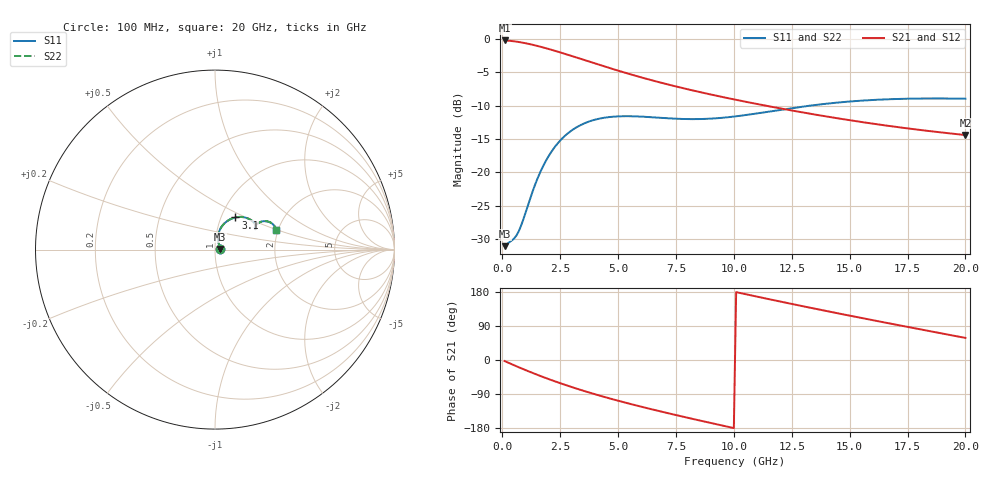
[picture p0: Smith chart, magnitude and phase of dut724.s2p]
! Touchstone file exported from HFSS 2024.1.0
!  File:  C:/UserFiles/LocalFiles/RDL_TSV_Batchsim/temp_RDL_TSV_724_1779891606.aedt
!  Generated:  10:37:43 PM May 27, 2026
!  Design:  RDL_TSV
!  Project:  temp_RDL_TSV_724_1779891606
!  Setup:  Setup1
!  Solution:  Sweep
! Variables:
!  dtsv = 13.26um
!  hbump = 3um
!  htsv = 82.02um
!  ldown = 565.25um
!  lrdl = 672um
!  p = 40
!  p1 = 58.44um
!  rhole = 10um
!  subl = 4383.75um
!  t = 450um
!  tdown = 2.64um
!  trdl = 3.68um
!  viad = 10um
!  wdown = 12.73um
!  wrdl = 25.14um
!  xbump = 18um
# GHz S MA R 50.000000
! Terminal data exported
! Port[1] = TM1_1_T1
! Port[2] = TM1_4_T1
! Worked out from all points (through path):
!   200 points, 100 MHz to 20 GHz, reference 50 ohm
!   highest |S21| = -0.25 dB at 100 MHz (marker M1); lowest = -14.4 dB at 20 GHz (marker M2)
!   group delay of S21, straight-line fit = 39.4 ps
!   lowest |S11| = -31.1 dB at 100 MHz (marker M3), VSWR 1.06, Z = 52.8 + j0.44 ohm
!   |S11| at or under -10 dB: start of sweep to 13.32 GHz
!   |S22| runs from -31.1 to -8.9 dB; largest |S21 - S12| = 9.4e-15
!   S11 on the Smith chart (normalised r, x): 100 MHz: 1.06, +0.01; 3.1 GHz: 1.17, +0.44; 20 GHz: 1.94, +0.49
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0.1  0.028 8.5  0.9716 -2.8  0.9716 -2.8  0.028 8.5
! Gamma 0 0 0 0
! Port Impedance 50 0 50 0
0.5  0.03184 36.3  0.958 -13.6  0.958 -13.6  0.03183 36.3
0.7  0.03589 51.4  0.9472 -18.9  0.9472 -18.9  0.03587 51.5
0.9  0.04402 64.4  0.9342 -24.0  0.9342 -24.0  0.04402 64.4
1.2  0.06341 75.0  0.9113 -31.5  0.9113 -31.5  0.06345 75.1
1.6  0.09678 77.4  0.8765 -41.2  0.8765 -41.2  0.09689 77.5
1.9  0.1234 75.0  0.8486 -48.1  0.8486 -48.1  0.1236 75.1
2.3  0.1574 69.8  0.8103 -56.9  0.8103 -56.9  0.1576 69.9
2.7  0.1872 63.7  0.7718 -65.4  0.7718 -65.4  0.1876 63.8
3.1  0.2119 57.6  0.7339 -73.4  0.7339 -73.4  0.2123 57.7
3.5  0.231 51.9  0.6974 -81.1  0.6974 -81.1  0.2315 52.0
4.2  0.2526 43.3  0.6377 -93.9  0.6377 -93.9  0.2531 43.3
5  0.2625 35.7  0.5775 -107.4  0.5775 -107.4  0.2631 35.7
5.9  0.2619 30.0  0.5199 -121.7  0.5199 -121.7  0.2627 30.1
6.8  0.2563 27.2  0.4717 -135.2  0.4717 -135.2  0.2571 27.3
8.3  0.2503 27.4  0.4076 -156.5  0.4076 -156.5  0.2511 27.4
10.1  0.2628 30.5  0.349 179.0  0.349 179.0  0.2636 30.5
11.7  0.2882 31.5  0.308 158.1  0.308 158.1  0.289 31.5
13.4  0.3175 29.9  0.2727 136.6  0.2727 136.6  0.3182 29.9
15  0.3391 27.0  0.2457 117.0  0.2457 117.0  0.3399 27.0
16.7  0.3527 23.4  0.2226 96.8  0.2226 96.8  0.3535 23.4
20  0.356 17.9  0.1903 58.3  0.1903 58.3  0.3569 17.9
